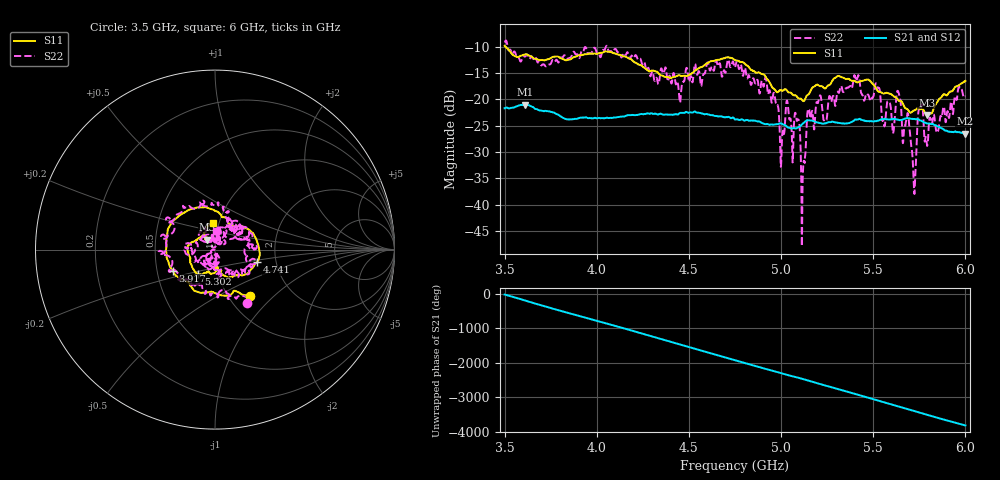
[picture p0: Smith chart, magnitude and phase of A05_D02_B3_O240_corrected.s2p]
! Created with skrf 1.9.0 (http://scikit-rf.org).
# Hz S RI R 50.0
!freq ReS11 ImS11 ReS21 ImS21 ReS12 ImS12 ReS22 ImS22
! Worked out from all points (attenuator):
!   1601 points, 3.5 GHz to 6 GHz, reference 50 ohm
!   highest |S21| = -21.00 dB at 3.609 GHz (marker M1); lowest = -26.5 dB at 5.997 GHz (marker M2)
!   lowest |S11| = -23.0 dB at 5.791 GHz (marker M3), VSWR 1.15, Z = 45.5 + j5.11 ohm
!   |S11| at or under -10 dB: 3.506 GHz to end of sweep
!   |S22| runs from -47.9 to -8.8 dB; largest |S21 - S12| = 0.001
!   S11 on the Smith chart (normalised r, x): 3.5 GHz: 1.26, -0.72; 3.917 GHz: 0.60, -0.15; 4.741 GHz: 1.58, -0.24; 5.302 GHz: 0.80, -0.22; 6 GHz: 0.93, +0.28
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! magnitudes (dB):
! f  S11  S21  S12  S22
! 3.5 GHz  -9.8  -21.7  -21.7  -9.2
! 3.609 GHz  -11.5  -21.0  -21.0  -11.9
! 3.917 GHz  -11.6  -23.5  -23.5  -10.8
! 4.334 GHz  -15.0  -22.9  -22.8  -17.1
! 4.741 GHz  -12.3  -23.4  -23.5  -12.9
! 4.75 GHz  -12.5  -23.8  -23.7  -13.9
! 4.969 GHz  -18.3  -24.7  -24.7  -20.2
! 5.005 GHz  -18.3  -24.6  -24.6  -27.8
! 5.033 GHz  -18.4  -25.2  -25.2  -20.2
! 5.086 GHz  -19.5  -25.5  -25.4  -24.1
! 5.119 GHz  -20.2  -24.6  -24.5  -33.7
! 5.147 GHz  -19.1  -23.9  -23.9  -21.9
! 5.167 GHz  -17.9  -24.0  -24.0  -22.3
! 5.302 GHz  -15.7  -24.4  -24.3  -19.4
! 5.409 GHz  -16.7  -23.9  -23.8  -16.5
! 5.584 GHz  -18.9  -23.8  -23.8  -20.4
! 5.639 GHz  -20.3  -23.9  -23.9  -18.9
! 5.72 GHz  -22.1  -23.7  -23.7  -36.5
! 5.755 GHz  -21.9  -24.0  -23.9  -21.9
! 5.791 GHz  -23.0  -24.6  -24.5  -28.3
! 5.997 GHz  -16.6  -26.5  -26.4  -19.5
! 6 GHz  -16.5  -26.5  -26.5  -19.5
